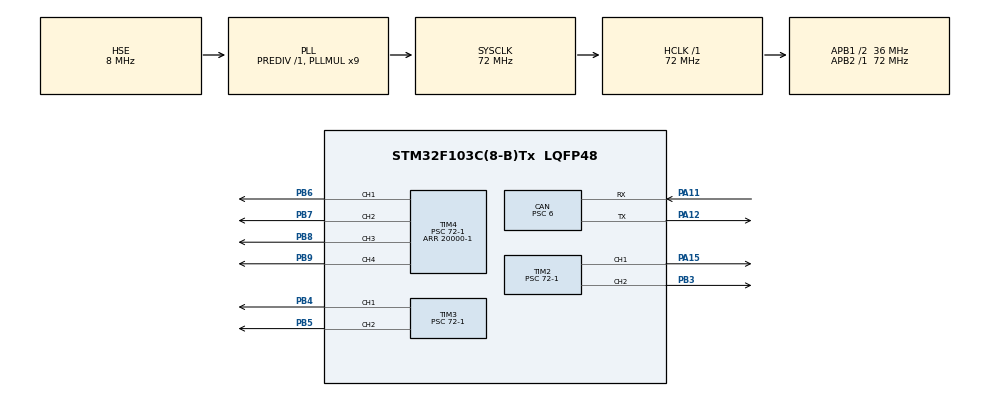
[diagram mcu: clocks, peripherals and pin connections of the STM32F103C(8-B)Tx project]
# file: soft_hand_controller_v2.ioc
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CAN.AWUM=ENABLE
CAN.BS1=CAN_BS1_3TQ
CAN.BS2=CAN_BS2_2TQ
CAN.CalculateBaudRate=999999
CAN.CalculateTimeBit=1000
CAN.CalculateTimeQuantum=166.66666666666669
CAN.Mode=CAN_MODE_NORMAL
CAN.NART=ENABLE
CAN.Prescaler=6
Mcu.Family=STM32F1
Mcu.Name=STM32F103C(8-B)Tx
Mcu.Package=LQFP48
NVIC.CAN1_RX1_IRQn=true\:0\:0\:true\:false\:true\:true\:true\:true
NVIC.PriorityGroup=NVIC_PRIORITYGROUP_2
PA11.Mode=CAN_Activate
PA11.Signal=CAN_RX
PA12.Mode=CAN_Activate
PA12.Signal=CAN_TX
PA13.Mode=Serial_Wire
PA13.Signal=SYS_JTMS-SWDIO
PA14.Mode=Serial_Wire
PA14.Signal=SYS_JTCK-SWCLK
PA15.Signal=S_TIM2_CH1_ETR
PB3.Signal=S_TIM2_CH2
PB4.Signal=S_TIM3_CH1
PB5.Signal=S_TIM3_CH2
PB6.Signal=S_TIM4_CH1
PB7.Signal=S_TIM4_CH2
PB8.Signal=S_TIM4_CH3
PB9.Signal=S_TIM4_CH4
PD0-OSC_IN.Mode=HSE-External-Oscillator
PD0-OSC_IN.Signal=RCC_OSC_IN
PD1-OSC_OUT.Mode=HSE-External-Oscillator
PD1-OSC_OUT.Signal=RCC_OSC_OUT
ProjectManager.HeapSize=0x200
ProjectManager.StackSize=0x400
ProjectManager.TargetToolchain=STM32CubeIDE
RCC.AHBFreq_Value=72000000
RCC.APB1CLKDivider=RCC_HCLK_DIV2
RCC.APB1Freq_Value=36000000
RCC.APB1TimFreq_Value=72000000
RCC.APB2Freq_Value=72000000
RCC.APB2TimFreq_Value=72000000
RCC.HCLKFreq_Value=72000000
RCC.PLLMUL=RCC_PLL_MUL9
RCC.PLLSourceVirtual=RCC_PLLSOURCE_HSE
RCC.SYSCLKFreq_VALUE=72000000
RCC.SYSCLKSource=RCC_SYSCLKSOURCE_PLLCLK
RCC.USBFreq_Value=72000000
SH.S_TIM2_CH1_ETR.0=TIM2_CH1,PWM Generation1 CH1
SH.S_TIM2_CH2.0=TIM2_CH2,PWM Generation2 CH2
SH.S_TIM3_CH1.0=TIM3_CH1,PWM Generation1 CH1
SH.S_TIM3_CH2.0=TIM3_CH2,PWM Generation2 CH2
SH.S_TIM4_CH1.0=TIM4_CH1,PWM Generation1 CH1
SH.S_TIM4_CH2.0=TIM4_CH2,PWM Generation2 CH2
SH.S_TIM4_CH3.0=TIM4_CH3,PWM Generation3 CH3
SH.S_TIM4_CH4.0=TIM4_CH4,PWM Generation4 CH4
TIM2.Channel-PWM\ Generation1\ CH1=TIM_CHANNEL_1
TIM2.Channel-PWM\ Generation2\ CH2=TIM_CHANNEL_2
TIM2.Period=20000-1
TIM2.Prescaler=72-1
TIM3.Channel-PWM\ Generation1\ CH1=TIM_CHANNEL_1
TIM3.Channel-PWM\ Generation2\ CH2=TIM_CHANNEL_2
TIM3.Period=20000-1
TIM3.Prescaler=72-1
TIM4.Channel-PWM\ Generation1\ CH1=TIM_CHANNEL_1
TIM4.Channel-PWM\ Generation2\ CH2=TIM_CHANNEL_2
TIM4.Channel-PWM\ Generation3\ CH3=TIM_CHANNEL_3
TIM4.Channel-PWM\ Generation4\ CH4=TIM_CHANNEL_4
TIM4.Period=20000-1
TIM4.Prescaler=72-1
board=custom

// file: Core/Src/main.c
/* USER CODE BEGIN Header */
/**
 ******************************************************************************
 * @file           : main.c
 * @brief          : Main program body
 ******************************************************************************
 * @attention
 *
 * Copyright (c) 2024 STMicroelectronics.
 * All rights reserved.
 *
 * This software is licensed under terms that can be found in the LICENSE file
 * in the root directory of this software component.
 * If no LICENSE file comes with this software, it is provided AS-IS.
 *
 ******************************************************************************
 */
/* USER CODE END Header */
#include "main.h"
#include "can.h"
#include "tim.h"
#include "gpio.h"

/* USER CODE BEGIN PV */
CAN_RxHeaderTypeDef RxHeader;
uint8_t RxData[8];

/* USER CODE END PV */

void SystemClock_Config(void);

int main(void)
{

  /* MCU Configuration--------------------------------------------------------*/

  /* Reset of all peripherals, Initializes the Flash interface and the Systick. */
  HAL_Init();

  /* Configure the system clock */
  SystemClock_Config();

  /* Initialize all configured peripherals */
  MX_GPIO_Init();
  MX_CAN_Init();
  MX_TIM2_Init();
  MX_TIM3_Init();
  MX_TIM4_Init();
  /* USER CODE BEGIN 2 */
    __HAL_AFIO_REMAP_TIM3_PARTIAL(); // Remap
    CAN_Init();
    HAL_TIM_PWM_Start(&htim2, TIM_CHANNEL_2);
    HAL_TIM_PWM_Start(&htim3, TIM_CHANNEL_1);
    HAL_TIM_PWM_Start(&htim3, TIM_CHANNEL_2);
    HAL_TIM_PWM_Start(&htim4, TIM_CHANNEL_1);
    HAL_TIM_PWM_Start(&htim4, TIM_CHANNEL_2);
    HAL_TIM_PWM_Start(&htim4, TIM_CHANNEL_3);
    HAL_TIM_PWM_Start(&htim4, TIM_CHANNEL_4);
    HAL_TIM_PWM_Start(&htim2, TIM_CHANNEL_1);
    //    __HAL_TIM_SetCompare(&htim3, TIM_CHANNEL_2, 1000);
    //    PWM_SetCompare(0, 1000);
    // HAL_CAN_ActivateNotification(&hcan, CAN_IT_RX_FIFO0_MSG_PENDING);
    //    __HAL_CAN_ENABLE_IT(&hcan, CAN_IT_RX_FIFO0_MSG_PENDING);

  /* USER CODE END 2 */

  /* Infinite loop */
  /* USER CODE BEGIN WHILE */
//    HAL_UART_Transmit(&huart1, "init", 4, 5);
    while (1)
    {
        if (HAL_CAN_GetRxFifoFillLevel(&hcan, CAN_RX_FIFO0) != 1)
        {
        }
        if (HAL_CAN_GetRxMessage(&hcan, CAN_RX_FIFO0, &RxHeader, RxData) == HAL_OK)
        {

            switch (RxHeader.FilterMatchIndex)
            {
            case 0: /*广播*/
#ifdef TEST_MODE
                HAL_UART_Transmit(&huart1, "Bank0Recived", 12, 5);
#endif
                FILTER_MsgProcess(RxData);
                break;
            case 1:
#ifdef TEST_MODE
                HAL_UART_Transmit(&huart1, "Bank1Recived", 12, 5);
#endif
                SERVO_MsgProcess(RxData);
                break;
            }
        }
//        HAL_Delay(5);
    /* USER CODE END WHILE */

    }
}

void SystemClock_Config(void)
{
  RCC_OscInitTypeDef RCC_OscInitStruct = {0};
  RCC_ClkInitTypeDef RCC_ClkInitStruct = {0};

  /** Initializes the RCC Oscillators according to the specified parameters
  * in the RCC_OscInitTypeDef structure.
  */
  RCC_OscInitStruct.OscillatorType = RCC_OSCILLATORTYPE_HSE;
  RCC_OscInitStruct.HSEState = RCC_HSE_ON;
  RCC_OscInitStruct.HSEPredivValue = RCC_HSE_PREDIV_DIV1;
  RCC_OscInitStruct.HSIState = RCC_HSI_ON;
  RCC_OscInitStruct.PLL.PLLState = RCC_PLL_ON;
  RCC_OscInitStruct.PLL.PLLSource = RCC_PLLSOURCE_HSE;
  RCC_OscInitStruct.PLL.PLLMUL = RCC_PLL_MUL9;
  if (HAL_RCC_OscConfig(&RCC_OscInitStruct) != HAL_OK)
  {
    Error_Handler();
  }

  /** Initializes the CPU, AHB and APB buses clocks
  */
  RCC_ClkInitStruct.ClockType = RCC_CLOCKTYPE_HCLK|RCC_CLOCKTYPE_SYSCLK
                              |RCC_CLOCKTYPE_PCLK1|RCC_CLOCKTYPE_PCLK2;
  RCC_ClkInitStruct.SYSCLKSource = RCC_SYSCLKSOURCE_PLLCLK;
  RCC_ClkInitStruct.AHBCLKDivider = RCC_SYSCLK_DIV1;
  RCC_ClkInitStruct.APB1CLKDivider = RCC_HCLK_DIV2;
  RCC_ClkInitStruct.APB2CLKDivider = RCC_HCLK_DIV1;

  if (HAL_RCC_ClockConfig(&RCC_ClkInitStruct, FLASH_LATENCY_2) != HAL_OK)
  {
    Error_Handler();
  }
}

void Error_Handler(void)
{
    __disable_irq();
    while (1)
    {
    }
}
